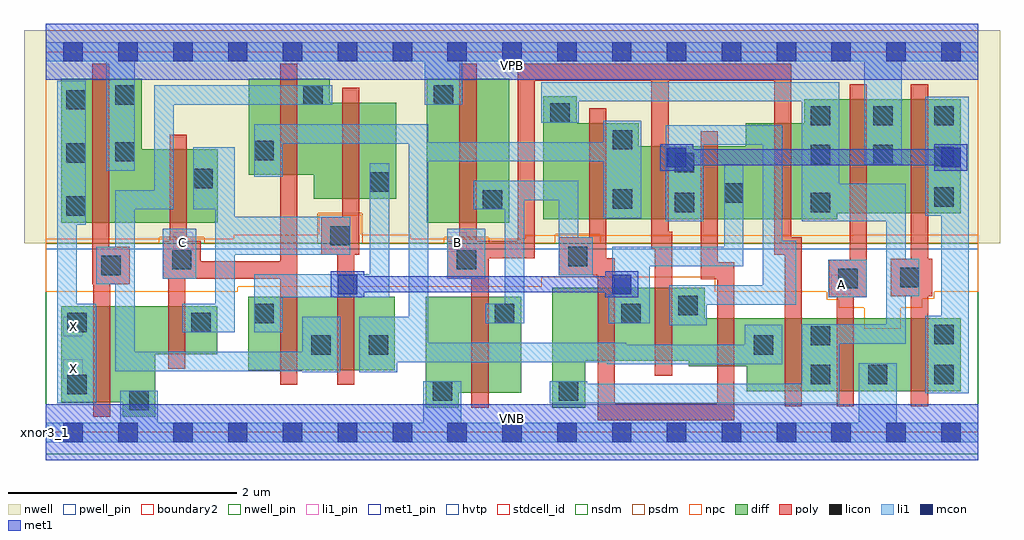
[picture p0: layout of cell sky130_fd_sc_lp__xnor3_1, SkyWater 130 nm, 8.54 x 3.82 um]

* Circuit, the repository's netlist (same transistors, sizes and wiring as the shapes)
* Copyright 2020 The SkyWater PDK Authors
*
* Licensed under the Apache License, Version 2.0 (the "License");
* you may not use this file except in compliance with the License.
* You may obtain a copy of the License at
*
*     https://www.apache.org/licenses/LICENSE-2.0
*
* Unless required by applicable law or agreed to in writing, software
* distributed under the License is distributed on an "AS IS" BASIS,
* WITHOUT WARRANTIES OR CONDITIONS OF ANY KIND, either express or implied.
* See the License for the specific language governing permissions and
* limitations under the License.
*
* SPDX-License-Identifier: Apache-2.0

.SUBCKT sky130_fd_sc_lp__xnor3_1 A B C VGND VNB VPB VPWR X
*.PININFO A:I B:I C:I VGND:I VNB:I VPB:I VPWR:I X:O
MMIN3 X net57 VGND VNB sky130_fd_pr__nfet_01v8 m=1 w=0.84U l=0.15U mult=1 sa=0.265
+ sb=0.265 sd=0.28 area=0.063 perim=1.14
MI29 Ab Bb mid2 VNB sky130_fd_pr__nfet_01v8 m=1 w=0.64U l=0.15U mult=1 sa=0.265
+ sb=0.265 sd=0.28 area=0.063 perim=1.14
MI25 Abb Bb mid1 VNB sky130_fd_pr__nfet_01v8 m=1 w=0.42U l=0.15U mult=1 sa=0.265
+ sb=0.265 sd=0.28 area=0.063 perim=1.14
MI17 Bb B VGND VNB sky130_fd_pr__nfet_01v8 m=1 w=0.84U l=0.15U mult=1 sa=0.265
+ sb=0.265 sd=0.28 area=0.063 perim=1.14
MI649 mid1 Cb net57 VNB sky130_fd_pr__nfet_01v8 m=1 w=0.64U l=0.15U mult=1 sa=0.265
+ sb=0.265 sd=0.28 area=0.063 perim=1.14
MI44 Ab A VGND VNB sky130_fd_pr__nfet_01v8 m=1 w=0.64U l=0.15U mult=1 sa=0.265
+ sb=0.265 sd=0.28 area=0.063 perim=1.14
MI34 Cb C VGND VNB sky130_fd_pr__nfet_01v8 m=1 w=0.42U l=0.15U mult=1 sa=0.265
+ sb=0.265 sd=0.28 area=0.063 perim=1.14
MI2 mid2 C net57 VNB sky130_fd_pr__nfet_01v8 m=1 w=0.64U l=0.15U mult=1 sa=0.265
+ sb=0.265 sd=0.28 area=0.063 perim=1.14
MI46 Abb Ab VGND VNB sky130_fd_pr__nfet_01v8 m=1 w=0.64U l=0.15U mult=1 sa=0.265
+ sb=0.265 sd=0.28 area=0.063 perim=1.14
MI24 Ab B mid1 VNB sky130_fd_pr__nfet_01v8 m=1 w=0.64U l=0.15U mult=1 sa=0.265
+ sb=0.265 sd=0.28 area=0.063 perim=1.14
MI28 Abb B mid2 VNB sky130_fd_pr__nfet_01v8 m=1 w=0.64U l=0.15U mult=1 sa=0.265
+ sb=0.265 sd=0.28 area=0.063 perim=1.14
MMIP3 X net57 VPWR VPB sky130_fd_pr__pfet_01v8_hvt m=1 w=1.26U l=0.15U mult=1 sa=0.265
+ sb=0.265 sd=0.28 area=0.063 perim=1.14
MI650 mid1 C net57 VPB sky130_fd_pr__pfet_01v8_hvt m=1 w=0.84U l=0.15U mult=1 sa=0.265
+ sb=0.265 sd=0.28 area=0.063 perim=1.14
MI27 mid2 B Ab VPB sky130_fd_pr__pfet_01v8_hvt m=1 w=0.84U l=0.15U mult=1 sa=0.265
+ sb=0.265 sd=0.28 area=0.063 perim=1.14
MI47 Abb Ab VPWR VPB sky130_fd_pr__pfet_01v8_hvt m=1 w=1.0U l=0.15U mult=1 sa=0.265
+ sb=0.265 sd=0.28 area=0.063 perim=1.14
MI23 mid1 B Abb VPB sky130_fd_pr__pfet_01v8_hvt m=1 w=0.64U l=0.15U mult=1 sa=0.265
+ sb=0.265 sd=0.28 area=0.063 perim=1.14
MI26 mid2 Bb Abb VPB sky130_fd_pr__pfet_01v8_hvt m=1 w=0.64U l=0.15U mult=1 sa=0.265
+ sb=0.265 sd=0.28 area=0.063 perim=1.14
MI7 mid2 Cb net57 VPB sky130_fd_pr__pfet_01v8_hvt m=1 w=0.84U l=0.15U mult=1 sa=0.265
+ sb=0.265 sd=0.28 area=0.063 perim=1.14
MI33 Cb C VPWR VPB sky130_fd_pr__pfet_01v8_hvt m=1 w=0.64U l=0.15U mult=1 sa=0.265
+ sb=0.265 sd=0.28 area=0.063 perim=1.14
MI45 Ab A VPWR VPB sky130_fd_pr__pfet_01v8_hvt m=1 w=1.0U l=0.15U mult=1 sa=0.265
+ sb=0.265 sd=0.28 area=0.063 perim=1.14
MI16 Bb B VPWR VPB sky130_fd_pr__pfet_01v8_hvt m=1 w=1.26U l=0.15U mult=1 sa=0.265
+ sb=0.265 sd=0.28 area=0.063 perim=1.14
MI19 mid1 Bb Ab VPB sky130_fd_pr__pfet_01v8_hvt m=1 w=0.84U l=0.15U mult=1 sa=0.265
+ sb=0.265 sd=0.28 area=0.063 perim=1.14
.ENDS sky130_fd_sc_lp__xnor3_1

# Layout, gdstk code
import gdstk
lib = gdstk.Library(unit=1e-6, precision=1e-09)
def R(c, l, rs):  # rectangles x0, y0, x1, y1
    for r in rs: c.add(gdstk.rectangle(r[:2], r[2:], *l))
def A(c, l, x, y, w, h, nx, ny, dx, dy):  # array of equal rectangles
    R(c, l, [(x+i*dx, y+j*dy, x+i*dx+w, y+j*dy+h) for i in range(nx) for j in range(ny)])
def P(c, l, *ps):  # polygons
    for p in ps: c.add(gdstk.Polygon(p, *l))
nwell_pin = (64, 16)
nwell = (64, 20)
diff = (65, 20)
poly = (66, 20)
licon = (66, 44)
li1_pin = (67, 16)
li1 = (67, 20)
mcon = (67, 44)
met1_pin = (68, 16)
met1 = (68, 20)
hvtp = (78, 44)
stdcell_id = (81, 4)
nsdm = (93, 44)
psdm = (94, 20)
npc = (95, 20)
pwell_pin = (122, 16)
boundary2 = (236, 0)

sky130_fd_sc_lp__xnor3_1 = lib.new_cell('sky130_fd_sc_lp__xnor3_1')
R(sky130_fd_sc_lp__xnor3_1, nwell_pin, [(0,3.085,8.16,3.33)])
R(sky130_fd_sc_lp__xnor3_1, nwell, [(-0.19,1.655,8.35,3.52)])
R(sky130_fd_sc_lp__xnor3_1, diff, [(1.77,0.545,3.055,1.185), (3.335,1.835,4.055,3.095)])
P(sky130_fd_sc_lp__xnor3_1, diff, [(1.5,1.105),(0.135,1.105),(0.135,0.265),(0.675,0.265),(0.675,0.135),(0.96,0.135),(0.96,0.685),(1.5,0.685)],
  [(1.505,2.475),(0.84,2.475),(0.84,3.095),(0.135,3.095),(0.135,1.835),(1.505,1.835)],
  [(3.065,2.885),(2.485,2.885),(2.485,3.095),(1.775,3.095),(1.775,2.255),(2.345,2.255),(2.345,2.045),(3.065,2.045)],
  [(4.16,1.185),(3.325,1.185),(3.325,0.215),(3.615,0.215),(3.615,0.345),(4.16,0.345)],
  [(8.005,2.915),(6.635,2.915),(6.635,2.705),(6.125,2.705),(6.125,2.505),(5.19,2.505),(5.19,2.705),(4.645,2.705),(4.645,2.94),(4.355,2.94),(4.355,1.865),(6.925,1.865),(6.925,1.915),(8.005,1.915)],
  [(8.005,1),(5.765,1),(5.765,1.265),(4.43,1.265),(4.43,0.215),(4.72,0.215),(4.72,0.625),(5.625,0.625),(5.625,0.58),(6.135,0.58),(6.135,0.36),(8.005,0.36)])
P(sky130_fd_sc_lp__xnor3_1, poly, [(0.735,1.625),(0.555,1.625),(0.555,3.225),(0.405,3.225),(0.405,1.295),(0.415,1.295),(0.415,0.135),(0.565,0.135),(0.565,1.295),(0.735,1.295)],
  [(2.2,3.225),(2.05,3.225),(2.05,1.495),(1.355,1.495),(1.355,1.675),(1.235,1.675),(1.235,2.605),(1.085,2.605),(1.085,1.675),(1.025,1.675),(1.025,1.345),(1.07,1.345),(1.07,0.555),(1.22,0.555),(1.22,1.345),(2.05,1.345),(2.05,0.415),(2.2,0.415)],
  [(2.745,3.015),(2.595,3.015),(2.595,1.885),(2.41,1.885),(2.41,1.555),(2.55,1.555),(2.55,0.415),(2.7,0.415),(2.7,1.555),(2.745,1.555)],
  [(6.025,1.49),(5.88,1.49),(5.88,2.635),(5.73,2.635),(5.73,1.34),(5.875,1.34),(5.875,0.255),(4.98,0.255),(4.98,1.525),(4.905,1.525),(4.905,2.835),(4.755,2.835),(4.755,1.705),(4.49,1.705),(4.49,1.375),(4.83,1.375),(4.83,0.105),(6.025,0.105)],
  [(6.615,1.705),(6.525,1.705),(6.525,3.225),(4.13,3.225),(4.13,1.675),(3.77,1.675),(3.77,3.225),(3.62,3.225),(3.62,1.675),(3.515,1.675),(3.515,1.345),(3.725,1.345),(3.725,0.215),(3.875,0.215),(3.875,1.525),(4.28,1.525),(4.28,3.075),(5.3,3.075),(5.3,1.605),(5.33,1.605),(5.33,0.495),(5.48,0.495),(5.48,1.755),(5.45,1.755),(5.45,3.075),(6.375,3.075),(6.375,1.555),(6.465,1.555),(6.465,0.23),(6.615,0.23)],
  [(7.185,3.045),(7.035,3.045),(7.035,1.51),(6.855,1.51),(6.855,1.18),(6.92,1.18),(6.92,0.23),(7.07,0.23),(7.07,1.18),(7.185,1.18)],
  [(7.755,1.52),(7.72,1.52),(7.72,3.045),(7.57,3.045),(7.57,1.52),(7.395,1.52),(7.395,1.19),(7.57,1.19),(7.57,0.23),(7.72,0.23),(7.72,1.19),(7.755,1.19)])
A(sky130_fd_sc_lp__xnor3_1, licon, 0.18, 1.895, 0.17, 0.17, 1, 3, 0, 0.465)
A(sky130_fd_sc_lp__xnor3_1, licon, 7.775, 1.975, 0.17, 0.17, 1, 3, 0, 0.355)
R(sky130_fd_sc_lp__xnor3_1, licon, [(0.73,0.195,0.9,0.365), (3.385,0.275,3.555,0.445), (4.49,0.275,4.66,0.445), (0.19,0.335,0.36,0.505), (6.695,0.42,6.865,0.59), (7.195,0.42,7.365,0.59), (7.775,0.42,7.945,0.59), (2.325,0.68,2.495,0.85), (2.825,0.68,2.995,0.85), (6.195,0.68,6.365,0.85), (6.695,0.76,6.865,0.93), (7.775,0.77,7.945,0.94), (0.19,0.875,0.36,1.045), (1.275,0.875,1.445,1.045), (1.825,0.955,1.995,1.125), (3.93,0.955,4.1,1.125), (5.035,0.955,5.205,1.125), (5.535,1.025,5.705,1.195), (6.935,1.26,7.105,1.43), (7.475,1.27,7.645,1.44), (0.485,1.375,0.655,1.545), (1.105,1.425,1.275,1.595), (3.595,1.425,3.765,1.595), (4.57,1.455,4.74,1.625), (2.49,1.635,2.66,1.805), (5.505,1.925,5.675,2.095), (6.695,1.925,6.865,2.095), (3.825,1.95,3.995,2.12), (4.96,1.955,5.13,2.125), (5.935,2.01,6.105,2.18), (2.835,2.105,3.005,2.275), (1.29,2.135,1.46,2.305), (5.505,2.275,5.675,2.445), (6.695,2.345,6.865,2.515), (7.24,2.345,7.41,2.515), (0.61,2.37,0.78,2.54), (1.825,2.38,1.995,2.55), (4.96,2.475,5.13,2.645), (6.695,2.685,6.865,2.855), (7.24,2.685,7.41,2.855), (4.415,2.71,4.585,2.88), (0.61,2.865,0.78,3.035), (2.255,2.865,2.425,3.035), (3.395,2.865,3.565,3.035)])
R(sky130_fd_sc_lp__xnor3_1, li1_pin, [(0.155,0.47,0.325,0.64), (0.155,0.84,0.325,1.01), (6.875,1.21,7.045,1.38), (1.115,1.58,1.285,1.75), (3.515,1.58,3.685,1.75)])
R(sky130_fd_sc_lp__xnor3_1, li1, [(6.845,1.18,7.185,1.51), (1.025,1.345,1.315,1.78), (3.515,1.345,3.845,1.78)])
P(sky130_fd_sc_lp__xnor3_1, li1, [(0.44,1.125),(0.27,1.125),(0.27,1.815),(0.35,1.815),(0.35,3.075),(0.1,3.075),(0.1,0.255),(0.44,0.255)],
  [(2.575,1.01),(2.245,1.01),(2.245,0.705),(0.78,0.705),(0.78,1.95),(1.12,1.95),(1.12,2.865),(2.505,2.865),(2.505,3.035),(0.95,3.035),(0.95,2.12),(0.61,2.12),(0.61,1.625),(0.44,1.625),(0.44,1.295),(0.61,1.295),(0.61,0.535),(2.245,0.535),(2.245,0.525),(2.575,0.525)],
  [(2.665,1.885),(1.655,1.885),(1.655,2.495),(1.29,2.495),(1.29,1.95),(1.485,1.95),(1.485,1.125),(1.195,1.125),(1.195,0.875),(1.655,0.875),(1.655,1.555),(2.665,1.555)],
  [(3.005,2.355),(2.835,2.355),(2.835,1.385),(1.825,1.385),(1.825,0.875),(2.075,0.875),(2.075,1.18),(3.005,1.18)],
  [(4.785,1.705),(4.66,1.705),(4.66,2.2),(3.745,2.2),(3.745,1.95),(4.015,1.95),(4.015,1.125),(3.85,1.125),(3.85,0.955),(4.185,0.955),(4.185,2.03),(4.49,2.03),(4.49,1.375),(4.785,1.375)],
  [(6.105,2.345),(5.935,2.345),(5.935,1.625),(4.955,1.625),(4.955,1.205),(4.925,1.205),(4.925,0.955),(5.285,0.955),(5.285,1.455),(6.105,1.455)],
  [(6.445,0.94),(6.115,0.94),(6.115,0.765),(5.08,0.765),(5.08,0.785),(3.345,0.785),(3.345,2.37),(4.88,2.37),(4.88,1.875),(5.21,1.875),(5.21,2.725),(4.88,2.725),(4.88,2.54),(3.345,2.54),(3.345,2.695),(1.825,2.695),(1.825,2.235),(2.075,2.235),(2.075,2.525),(3.175,2.525),(3.175,1.01),(2.745,1.01),(2.745,0.525),(3.075,0.525),(3.075,0.615),(4.91,0.615),(4.91,0.595),(6.445,0.595)],
  [(6.565,1.675),(6.445,1.675),(6.445,2.685),(5.425,2.685),(5.425,1.845),(5.755,1.845),(5.755,2.515),(6.275,2.515),(6.275,1.285),(5.455,1.285),(5.455,0.935),(5.785,0.935),(5.785,1.115),(6.565,1.115)],
  [(7.645,1.52),(7.525,1.52),(7.525,2.175),(6.945,2.175),(6.945,3.065),(4.335,3.065),(4.335,2.71),(4.665,2.71),(4.665,2.895),(6.615,2.895),(6.615,1.845),(7.355,1.845),(7.355,0.945),(6.615,0.945),(6.615,0.425),(4.74,0.425),(4.74,0.445),(4.41,0.445),(4.41,0.255),(6.945,0.255),(6.945,0.775),(7.525,0.775),(7.525,1.19),(7.645,1.19)],
  [(8.16,0.085),(7.445,0.085),(7.445,0.605),(7.115,0.605),(7.115,0.085),(3.635,0.085),(3.635,0.445),(3.305,0.445),(3.305,0.085),(0.98,0.085),(0.98,0.365),(0.65,0.365),(0.65,0.085),(0,0.085),(0,-0.085),(8.16,-0.085)],
  [(8.16,3.415),(0,3.415),(0,3.245),(0.53,3.245),(0.53,2.29),(0.78,2.29),(0.78,3.245),(3.315,3.245),(3.315,2.865),(3.645,2.865),(3.645,3.245),(7.16,3.245),(7.16,2.345),(7.49,2.345),(7.49,3.245),(8.16,3.245)],
  [(8.075,2.935),(7.695,2.935),(7.695,1.895),(7.835,1.895),(7.835,1.02),(7.695,1.02),(7.695,0.34),(8.075,0.34)])
A(sky130_fd_sc_lp__xnor3_1, mcon, 0.155, -0.085, 0.17, 0.17, 17, 2, 0.48, 3.33)
R(sky130_fd_sc_lp__xnor3_1, mcon, [(2.555,1.21,2.725,1.38), (4.955,1.21,5.125,1.38), (5.435,2.32,5.605,2.49), (7.835,2.32,8.005,2.49)])
R(sky130_fd_sc_lp__xnor3_1, met1_pin, [(0,0,8.16,0.245), (0,3.085,8.16,3.33)])
R(sky130_fd_sc_lp__xnor3_1, met1, [(0,-0.245,8.16,0.245), (0,3.085,8.16,3.575)])
P(sky130_fd_sc_lp__xnor3_1, met1, [(5.185,1.41),(4.895,1.41),(4.895,1.365),(2.785,1.365),(2.785,1.41),(2.495,1.41),(2.495,1.18),(2.785,1.18),(2.785,1.225),(4.895,1.225),(4.895,1.18),(5.185,1.18)],
  [(8.065,2.52),(7.775,2.52),(7.775,2.475),(5.665,2.475),(5.665,2.52),(5.375,2.52),(5.375,2.29),(5.665,2.29),(5.665,2.335),(7.775,2.335),(7.775,2.29),(8.065,2.29)])
R(sky130_fd_sc_lp__xnor3_1, hvtp, [(0,1.6,8.16,3.33)])
R(sky130_fd_sc_lp__xnor3_1, stdcell_id, [(0,0,8.16,3.33)])
R(sky130_fd_sc_lp__xnor3_1, nsdm, [(0,-0.19,8.16,1.655)])
P(sky130_fd_sc_lp__xnor3_1, psdm, [(8.16,3.52),(0,3.52),(0,1.655),(0.995,1.655),(0.995,1.705),(1.385,1.705),(1.385,1.655),(2.38,1.655),(2.38,1.915),(2.77,1.915),(2.77,1.655),(3.485,1.655),(3.485,1.705),(3.875,1.705),(3.875,1.655),(4.46,1.655),(4.46,1.735),(4.85,1.735),(4.85,1.655),(8.16,1.655)])
P(sky130_fd_sc_lp__xnor3_1, npc, [(8.16,1.73),(7.065,1.73),(7.065,1.725),(4.195,1.725),(4.195,1.695),(3.195,1.695),(3.195,1.73),(2.76,1.73),(2.76,1.905),(2.39,1.905),(2.39,1.73),(1.645,1.73),(1.645,1.695),(0,1.695),(0,1.23),(1.68,1.23),(1.68,1.275),(4.34,1.275),(4.34,1.355),(5.855,1.355),(5.855,1.23),(6.835,1.23),(6.835,1.16),(6.94,1.16),(6.94,1.09),(7.16,1.09),(7.16,0.905),(7.48,0.905),(7.48,1.09),(7.67,1.09),(7.67,1.17),(7.775,1.17),(7.775,1.23),(8.16,1.23)])
R(sky130_fd_sc_lp__xnor3_1, pwell_pin, [(0,0,8.16,0.245)])
R(sky130_fd_sc_lp__xnor3_1, boundary2, [(0,0,8.16,3.33)])
sky130_fd_sc_lp__xnor3_1.add(gdstk.Label('VNB', (4.08,0.123), layer=64, texttype=59))
sky130_fd_sc_lp__xnor3_1.add(gdstk.Label('VPB', (4.08,3.208), layer=64, texttype=5))
sky130_fd_sc_lp__xnor3_1.add(gdstk.Label('xnor3_1', (0,0), layer=83, texttype=44))
sky130_fd_sc_lp__xnor3_1.add(gdstk.Label('VPWR', (4.08,3.208), layer=68, texttype=5))
sky130_fd_sc_lp__xnor3_1.add(gdstk.Label('VGND', (4.08,0.123), layer=68, texttype=5))
sky130_fd_sc_lp__xnor3_1.add(gdstk.Label('A', (6.96,1.295), layer=67, texttype=5))
sky130_fd_sc_lp__xnor3_1.add(gdstk.Label('C', (1.2,1.665), layer=67, texttype=5))
sky130_fd_sc_lp__xnor3_1.add(gdstk.Label('B', (3.6,1.665), layer=67, texttype=5))
sky130_fd_sc_lp__xnor3_1.add(gdstk.Label('X', (0.24,0.555), layer=67, texttype=5))
sky130_fd_sc_lp__xnor3_1.add(gdstk.Label('X', (0.24,0.925), layer=67, texttype=5))

lib.write_gds('sky130_fd_sc_lp__xnor3_1.gds')
